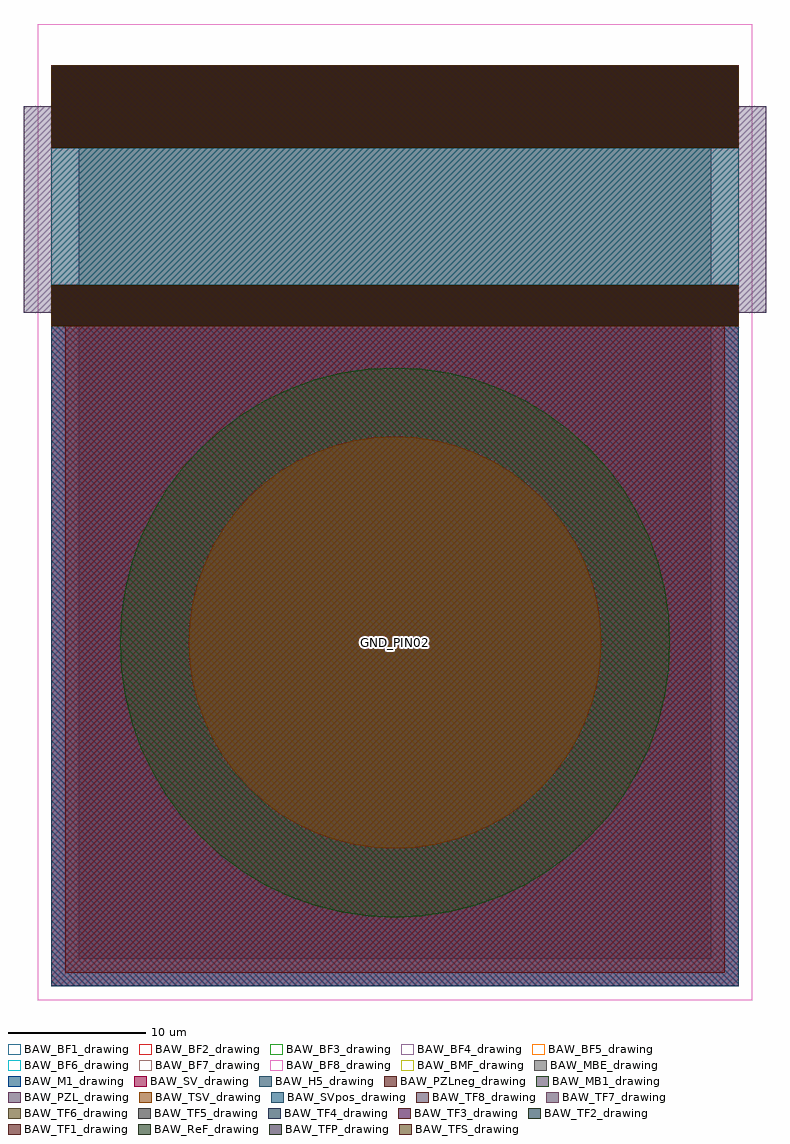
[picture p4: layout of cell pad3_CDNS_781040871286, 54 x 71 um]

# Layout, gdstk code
from math import pi, radians
import gdstk
lib = gdstk.Library(unit=1e-6, precision=1e-09)
def R(c, l, rs):  # rectangles x0, y0, x1, y1
    for r in rs: c.add(gdstk.rectangle(r[:2], r[2:], *l))
def P(c, l, *ps):  # polygons
    for p in ps: c.add(gdstk.Polygon(p, *l))
BAW_MBE_drawing = (2, 0)
BAW_PZL_drawing = (6, 0)
BAW_SV_drawing = (7, 0)
BAW_M1_drawing = (8, 0)
BAW_MB1_drawing = (10, 0)
BAW_TSV_drawing = (11, 0)
BAW_TFS_drawing = (25, 0)
BAW_TFP_drawing = (26, 0)
BAW_TF1_drawing = (27, 0)
BAW_TF2_drawing = (28, 0)
BAW_TF3_drawing = (29, 0)
BAW_TF4_drawing = (30, 0)
BAW_TF5_drawing = (31, 0)
BAW_TF6_drawing = (32, 0)
BAW_ReF_drawing = (33, 0)
EM_VPT_drawing = (35, 0)
BAW_TF7_drawing = (48, 0)
BAW_TF8_drawing = (49, 0)
BAW_BMF_drawing = (55, 0)
BAW_BF1_drawing = (140, 0)
BAW_BF2_drawing = (141, 0)
BAW_BF3_drawing = (142, 0)
BAW_BF4_drawing = (143, 0)
BAW_BF5_drawing = (144, 0)
BAW_BF6_drawing = (145, 0)
BAW_BF7_drawing = (146, 0)
BAW_BF8_drawing = (147, 0)
BAW_H5_drawing = (202, 0)
BAW_PZLneg_drawing = (264, 0)
BAW_SVpos_drawing = (265, 0)

pzlb3_cdns_781040871287 = lib.new_cell('pzlb3_CDNS_781040871287')
R(pzlb3_cdns_781040871287, BAW_BF1_drawing, [(-6,1,19,53)])
R(pzlb3_cdns_781040871287, BAW_BF2_drawing, [(-6,1,19,53)])
R(pzlb3_cdns_781040871287, BAW_BF3_drawing, [(-6,1,19,53)])
R(pzlb3_cdns_781040871287, BAW_BF4_drawing, [(-6,1,19,53)])
R(pzlb3_cdns_781040871287, BAW_BF5_drawing, [(-6,1,19,53)])
R(pzlb3_cdns_781040871287, BAW_BF6_drawing, [(-6,1,19,53)])
R(pzlb3_cdns_781040871287, BAW_BF7_drawing, [(-6,1,19,53)])
R(pzlb3_cdns_781040871287, BAW_BF8_drawing, [(-6,1,19,53)])
pzlb3_cdns_781040871287.add(gdstk.FlexPath([(7.5,54),(7.5,0)], 15, ends="flush", simple_path=True, layer=6, datatype=0))  # BAW_PZL_drawing
pzlb3_cdns_781040871287.add(gdstk.FlexPath([(0,52),(0,2)], 6, ends="flush", simple_path=True, layer=49, datatype=0))  # BAW_TF8_drawing
pzlb3_cdns_781040871287.add(gdstk.FlexPath([(14.5,52),(14.5,2)], 3, ends="flush", simple_path=True, layer=49, datatype=0))  # BAW_TF8_drawing
pzlb3_cdns_781040871287.add(gdstk.FlexPath([(0,52),(0,2)], 6, ends="flush", simple_path=True, layer=48, datatype=0))  # BAW_TF7_drawing
pzlb3_cdns_781040871287.add(gdstk.FlexPath([(14.5,52),(14.5,2)], 3, ends="flush", simple_path=True, layer=48, datatype=0))  # BAW_TF7_drawing
pzlb3_cdns_781040871287.add(gdstk.FlexPath([(0,52),(0,2)], 6, ends="flush", simple_path=True, layer=32, datatype=0))  # BAW_TF6_drawing
pzlb3_cdns_781040871287.add(gdstk.FlexPath([(14.5,52),(14.5,2)], 3, ends="flush", simple_path=True, layer=32, datatype=0))  # BAW_TF6_drawing
pzlb3_cdns_781040871287.add(gdstk.FlexPath([(0,52),(0,2)], 6, ends="flush", simple_path=True, layer=31, datatype=0))  # BAW_TF5_drawing
pzlb3_cdns_781040871287.add(gdstk.FlexPath([(14.5,52),(14.5,2)], 3, ends="flush", simple_path=True, layer=31, datatype=0))  # BAW_TF5_drawing
pzlb3_cdns_781040871287.add(gdstk.FlexPath([(0,52),(0,2)], 6, ends="flush", simple_path=True, layer=30, datatype=0))  # BAW_TF4_drawing
pzlb3_cdns_781040871287.add(gdstk.FlexPath([(14.5,52),(14.5,2)], 3, ends="flush", simple_path=True, layer=30, datatype=0))  # BAW_TF4_drawing
pzlb3_cdns_781040871287.add(gdstk.FlexPath([(0,52),(0,2)], 6, ends="flush", simple_path=True, layer=29, datatype=0))  # BAW_TF3_drawing
pzlb3_cdns_781040871287.add(gdstk.FlexPath([(14.5,52),(14.5,2)], 3, ends="flush", simple_path=True, layer=29, datatype=0))  # BAW_TF3_drawing
pzlb3_cdns_781040871287.add(gdstk.FlexPath([(0,52),(0,2)], 6, ends="flush", simple_path=True, layer=28, datatype=0))  # BAW_TF2_drawing
pzlb3_cdns_781040871287.add(gdstk.FlexPath([(14.5,52),(14.5,2)], 3, ends="flush", simple_path=True, layer=28, datatype=0))  # BAW_TF2_drawing
pzlb3_cdns_781040871287.add(gdstk.FlexPath([(0,52),(0,2)], 6, ends="flush", simple_path=True, layer=27, datatype=0))  # BAW_TF1_drawing
pzlb3_cdns_781040871287.add(gdstk.FlexPath([(14.5,52),(14.5,2)], 3, ends="flush", simple_path=True, layer=27, datatype=0))  # BAW_TF1_drawing
pzlb3_cdns_781040871287.add(gdstk.FlexPath([(0,52),(0,2)], 6, ends="flush", simple_path=True, layer=33, datatype=0))  # BAW_ReF_drawing
pzlb3_cdns_781040871287.add(gdstk.FlexPath([(14.5,52),(14.5,2)], 3, ends="flush", simple_path=True, layer=33, datatype=0))  # BAW_ReF_drawing
pzlb3_cdns_781040871287.add(gdstk.FlexPath([(0,52),(0,2)], 6, ends="flush", simple_path=True, layer=26, datatype=0))  # BAW_TFP_drawing
pzlb3_cdns_781040871287.add(gdstk.FlexPath([(14.5,52),(14.5,2)], 3, ends="flush", simple_path=True, layer=26, datatype=0))  # BAW_TFP_drawing
pzlb3_cdns_781040871287.add(gdstk.FlexPath([(0,52),(0,2)], 6, ends="flush", simple_path=True, layer=25, datatype=0))  # BAW_TFS_drawing
pzlb3_cdns_781040871287.add(gdstk.FlexPath([(14.5,52),(14.5,2)], 3, ends="flush", simple_path=True, layer=25, datatype=0))  # BAW_TFS_drawing
pzlb3_cdns_781040871287.add(gdstk.FlexPath([(0,52),(0,2)], 6, ends="flush", simple_path=True, layer=7, datatype=0))  # BAW_SV_drawing
pzlb3_cdns_781040871287.add(gdstk.FlexPath([(14.5,52),(14.5,2)], 3, ends="flush", simple_path=True, layer=7, datatype=0))  # BAW_SV_drawing
pzlb3_cdns_781040871287.add(gdstk.FlexPath([(0,52),(0,2)], 6, ends="flush", simple_path=True, layer=8, datatype=0))  # BAW_M1_drawing
pzlb3_cdns_781040871287.add(gdstk.FlexPath([(14.5,52),(14.5,2)], 3, ends="flush", simple_path=True, layer=8, datatype=0))  # BAW_M1_drawing
pzlb3_cdns_781040871287.add(gdstk.FlexPath([(6.5,52),(6.5,2)], 19, ends="flush", simple_path=True, layer=55, datatype=0))  # BAW_BMF_drawing
pzlb3_cdns_781040871287.add(gdstk.FlexPath([(8,52),(8,2)], 10, ends="flush", simple_path=True, layer=265, datatype=0))  # BAW_SVpos_drawing
pzlb3_cdns_781040871287.add(gdstk.FlexPath([(6.5,50),(6.5,4)], 19, ends="flush", simple_path=True, layer=2, datatype=0))  # BAW_MBE_drawing

pad3_cdns_781040871286 = lib.new_cell('pad3_CDNS_781040871286')
R(pad3_cdns_781040871286, BAW_MBE_drawing, [(-23,-23,23,23)])
R(pad3_cdns_781040871286, BAW_SV_drawing, [(-25,-25,25,25)])
R(pad3_cdns_781040871286, BAW_M1_drawing, [(-25,-25,25,25)])
P(pad3_cdns_781040871286, BAW_MB1_drawing, [(20,0),(19.904,1.96),(19.616,3.902),(19.139,5.806),(18.478,7.654),(17.638,9.428),(16.629,11.111),(15.46,12.688),(14.142,14.142),(12.688,15.46),(11.111,16.629),(9.428,17.638),(7.654,18.478),(5.806,19.139),(3.902,19.616),(1.96,19.904),(0,20),(-1.96,19.904),(-3.902,19.616),(-5.806,19.139),(-7.654,18.478),(-9.428,17.638),(-11.111,16.629),(-12.688,15.46),(-14.142,14.142),(-15.46,12.688),(-16.629,11.111),(-17.638,9.428),(-18.478,7.654),(-19.139,5.806),(-19.616,3.902),(-19.904,1.96),(-20,0),(-19.904,-1.96),(-19.616,-3.902),(-19.139,-5.806),(-18.478,-7.654),(-17.638,-9.428),(-16.629,-11.111),(-15.46,-12.688),(-14.142,-14.142),(-12.688,-15.46),(-11.111,-16.629),(-9.428,-17.638),(-7.654,-18.478),(-5.806,-19.139),(-3.902,-19.616),(-1.96,-19.904),(0,-20),(1.96,-19.904),(3.902,-19.616),(5.806,-19.139),(7.654,-18.478),(9.428,-17.638),(11.111,-16.629),(12.688,-15.46),(14.142,-14.142),(15.46,-12.688),(16.629,-11.111),(17.638,-9.428),(18.478,-7.654),(19.139,-5.806),(19.616,-3.902),(19.904,-1.96)])
P(pad3_cdns_781040871286, BAW_TSV_drawing, [(15,0),(14.928,1.47),(14.712,2.926),(14.354,4.354),(13.858,5.74),(13.229,7.071),(12.472,8.334),(11.595,9.516),(10.607,10.607),(9.516,11.595),(8.334,12.472),(7.071,13.229),(5.74,13.858),(4.354,14.354),(2.926,14.712),(1.47,14.928),(0,15),(-1.47,14.928),(-2.926,14.712),(-4.354,14.354),(-5.74,13.858),(-7.071,13.229),(-8.334,12.472),(-9.516,11.595),(-10.607,10.607),(-11.595,9.516),(-12.472,8.334),(-13.229,7.071),(-13.858,5.74),(-14.354,4.354),(-14.712,2.926),(-14.928,1.47),(-15,0),(-14.928,-1.47),(-14.712,-2.926),(-14.354,-4.354),(-13.858,-5.74),(-13.229,-7.071),(-12.472,-8.334),(-11.595,-9.516),(-10.607,-10.607),(-9.516,-11.595),(-8.334,-12.472),(-7.071,-13.229),(-5.74,-13.858),(-4.354,-14.354),(-2.926,-14.712),(-1.47,-14.928),(0,-15),(1.47,-14.928),(2.926,-14.712),(4.354,-14.354),(5.74,-13.858),(7.071,-13.229),(8.334,-12.472),(9.516,-11.595),(10.607,-10.607),(11.595,-9.516),(12.472,-8.334),(13.229,-7.071),(13.858,-5.74),(14.354,-4.354),(14.712,-2.926),(14.928,-1.47)])
R(pad3_cdns_781040871286, BAW_BMF_drawing, [(-25,-25,25,25)])
R(pad3_cdns_781040871286, BAW_BF1_drawing, [(-26,-26,26,26)])
R(pad3_cdns_781040871286, BAW_BF2_drawing, [(-26,-26,26,26)])
R(pad3_cdns_781040871286, BAW_BF3_drawing, [(-26,-26,26,26)])
R(pad3_cdns_781040871286, BAW_BF4_drawing, [(-26,-26,26,26)])
R(pad3_cdns_781040871286, BAW_BF5_drawing, [(-26,-26,26,26)])
R(pad3_cdns_781040871286, BAW_BF6_drawing, [(-26,-26,26,26)])
R(pad3_cdns_781040871286, BAW_BF7_drawing, [(-26,-26,26,26)])
R(pad3_cdns_781040871286, BAW_BF8_drawing, [(-26,-26,26,26)])
R(pad3_cdns_781040871286, BAW_H5_drawing, [(-25,-25,25,25)])
R(pad3_cdns_781040871286, BAW_PZLneg_drawing, [(-24,-24,24,24)])
pad3_cdns_781040871286.add(gdstk.FlexPath([(-30,0),(30,0)], 0, ends="flush", simple_path=True, layer=35, datatype=0))  # EM_VPT_drawing
pad3_cdns_781040871286.add(gdstk.Reference(pzlb3_cdns_781040871287, (-27,39), rotation=3*pi/2))
pad3_cdns_781040871286.add(gdstk.Label('GND_PIN02', (0,0), layer=71, texttype=0))

lib.write_gds('pad3_CDNS_781040871286.gds')
